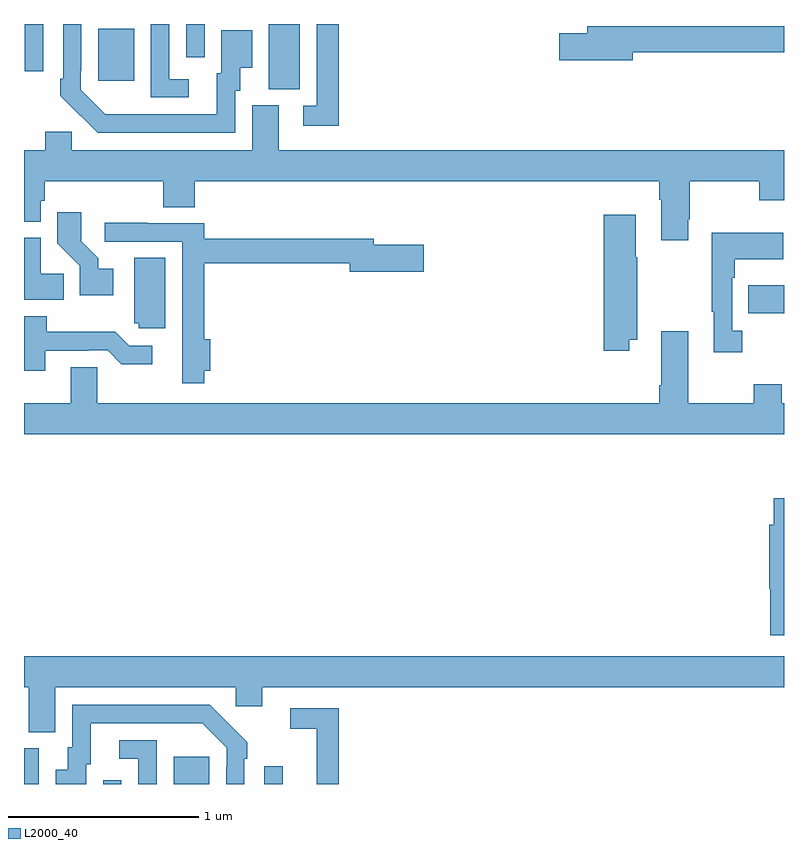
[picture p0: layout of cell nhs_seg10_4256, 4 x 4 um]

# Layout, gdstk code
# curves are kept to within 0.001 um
import gdstk
lib = gdstk.Library(unit=1e-6, precision=1e-09)
def R(c, l, rs):  # rectangles x0, y0, x1, y1
    for r in rs: c.add(gdstk.rectangle(r[:2], r[2:], *l))
def P(c, l, *ps):  # polygons
    for p in ps: c.add(gdstk.Polygon(p, *l))
L2000_40 = (2000, 40)

nhs_seg10_4256 = lib.new_cell('nhs_seg10_4256')
R(nhs_seg10_4256, L2000_40, [(349,1274.5,349.078,1274.688), (349.416,1274.5,349.512,1274.521), (349.787,1274.5,349.975,1274.644), (350.265,1274.5,350.361,1274.593), (352.813,1276.978,353,1277.125), (350.288,1278.157,350.452,1278.5), (349.391,1278.201,349.579,1278.475), (349.005,1278.252,349.101,1278.5), (349.854,1278.324,349.95,1278.5)])
P(nhs_seg10_4256, L2000_40, [(350.657,1278.5),(350.541,1278.5),(350.541,1278.069),(350.469,1278.069),(350.469,1277.964),(350.657,1277.964)],
  [(350.112,1278.15),(350.137,1278.15),(350.137,1278.269),(350.2,1278.269),(350.2,1278.466),(350.039,1278.466),(350.039,1278.24),(350.015,1278.24),(350.015,1278.024),(349.428,1278.025),(349.299,1278.153),(349.299,1278.253),(349.302,1278.253),(349.302,1278.5),(349.206,1278.5),(349.206,1278.211),(349.191,1278.211),(349.191,1278.123),(349.388,1277.928),(350.112,1277.928)],
  [(349.867,1278.21),(349.764,1278.21),(349.764,1278.5),(349.668,1278.5),(349.668,1278.114),(349.867,1278.114)],
  [(352.204,1278.352),(353,1278.352),(353,1278.488),(351.965,1278.488),(351.965,1278.452),(351.816,1278.452),(351.816,1278.31),(352.204,1278.31)],
  [(352.495,1277.473),(352.503,1277.473),(352.503,1277.672),(352.87,1277.672),(352.87,1277.573),(353,1277.573),(353,1277.836),(350.341,1277.836),(350.341,1278.072),(350.201,1278.072),(350.201,1277.836),(349.251,1277.836),(349.251,1277.934),(349.112,1277.934),(349.112,1277.836),(349,1277.836),(349,1277.459),(349.089,1277.459),(349.089,1277.571),(349.109,1277.571),(349.109,1277.672),(349.733,1277.672),(349.733,1277.536),(349.898,1277.536),(349.898,1277.672),(352.343,1277.672),(352.343,1277.576),(352.355,1277.576),(352.355,1277.361),(352.495,1277.361)],
  [(349.471,1277.212),(349.39,1277.212),(349.39,1277.267),(349.3,1277.357),(349.3,1277.509),(349.174,1277.509),(349.174,1277.346),(349.293,1277.227),(349.293,1277.072),(349.471,1277.072)],
  [(352.186,1276.838),(352.227,1276.838),(352.227,1277.273),(352.219,1277.273),(352.219,1277.497),(352.052,1277.497),(352.052,1276.779),(352.186,1276.779)],
  [(349.949,1276.676),(349.979,1276.676),(349.979,1276.842),(349.949,1276.842),(349.949,1277.242),(350.714,1277.242),(350.714,1277.195),(351.103,1277.195),(351.103,1277.337),(350.842,1277.337),(350.842,1277.371),(349.949,1277.371),(349.949,1277.451),(349.649,1277.451),(349.649,1277.454),(349.425,1277.454),(349.425,1277.355),(349.833,1277.355),(349.833,1276.83),(349.832,1276.83),(349.832,1276.608),(349.949,1276.608)],
  [(352.78,1276.886),(352.728,1276.886),(352.728,1277.165),(352.741,1277.165),(352.741,1277.261),(352.997,1277.261),(352.997,1277.401),(352.62,1277.401),(352.62,1276.985),(352.631,1276.985),(352.631,1276.773),(352.78,1276.773)],
  [(349.208,1277.186),(349.087,1277.186),(349.087,1277.374),(349,1277.374),(349,1277.048),(349.208,1277.048)],
  [(349.744,1277.27),(349.58,1277.27),(349.58,1276.926),(349.605,1276.926),(349.605,1276.899),(349.744,1276.899)],
  [(349.111,1276.779),(349.34,1276.779),(349.34,1276.782),(349.44,1276.782),(349.513,1276.709),(349.675,1276.709),(349.675,1276.806),(349.554,1276.806),(349.481,1276.879),(349.119,1276.879),(349.119,1276.963),(349,1276.963),(349,1276.674),(349.111,1276.674)],
  [(353,1276.504),(352.987,1276.504),(352.987,1276.603),(352.84,1276.603),(352.84,1276.504),(352.495,1276.504),(352.495,1276.882),(352.355,1276.882),(352.355,1276.6),(352.343,1276.6),(352.343,1276.504),(349.386,1276.504),(349.386,1276.694),(349.247,1276.694),(349.247,1276.504),(349,1276.504),(349,1276.34),(353,1276.34)],
  [(353,1276.003),(352.946,1276.003),(352.946,1275.864),(352.922,1275.864),(352.922,1275.528),(352.927,1275.528),(352.927,1275.282),(353,1275.282)],
  [(349.165,1275.008),(350.115,1275.008),(350.115,1274.91),(350.254,1274.91),(350.254,1275.008),(353,1275.008),(353,1275.172),(349,1275.172),(349,1275.008),(349.025,1275.008),(349.025,1274.773),(349.165,1274.773)],
  [(349.327,1274.604),(349.351,1274.604),(349.351,1274.82),(349.939,1274.82),(350.067,1274.691),(350.067,1274.591),(350.064,1274.591),(350.064,1274.5),(350.16,1274.5),(350.16,1274.633),(350.175,1274.633),(350.175,1274.721),(349.978,1274.916),(349.254,1274.916),(349.254,1274.694),(349.229,1274.694),(349.229,1274.575),(349.166,1274.575),(349.166,1274.5),(349.327,1274.5)],
  [(350.657,1274.898),(350.4,1274.898),(350.4,1274.79),(350.54,1274.79),(350.54,1274.5),(350.657,1274.5)],
  [(349.698,1274.73),(349.5,1274.73),(349.5,1274.634),(349.602,1274.634),(349.602,1274.5),(349.698,1274.5)])

lib.write_gds('nhs_seg10_4256.gds')
